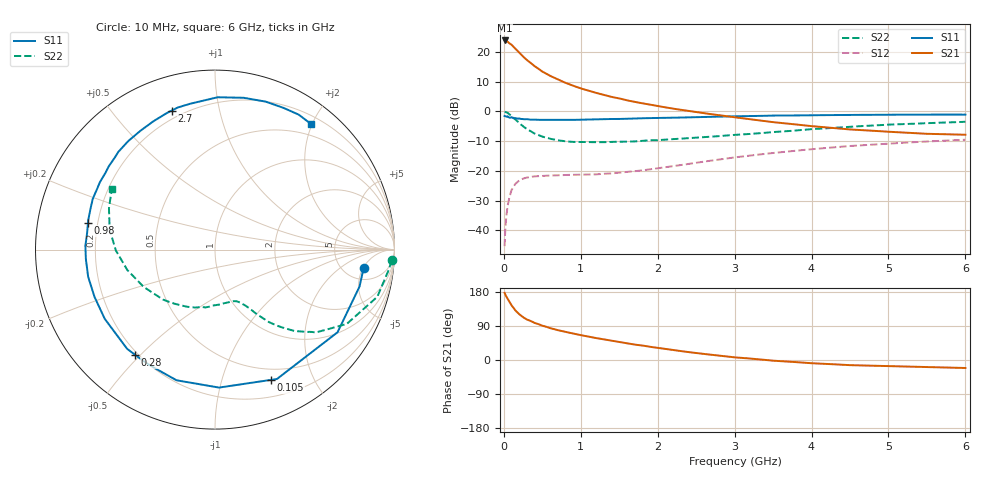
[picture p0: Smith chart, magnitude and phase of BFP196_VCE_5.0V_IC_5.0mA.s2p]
! Infineon Technologies  Discrete & RF Semiconductors
! BFP196
! VCE = 5.0 V,  IC = 5.0mA
! Common Emitter S-Parameters:  Jan 2016
# GHz  S  MA  R  50
!  f  S11  S21  S12  S22
! GHz  MAG  ANG  MAG  ANG  MAG  ANG  MAG  ANG
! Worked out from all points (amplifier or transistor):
!   210 points, 10 MHz to 6 GHz, reference 50 ohm
!   highest |S21| = 23.8 dB at 10 MHz (marker M1)
!   |S21| within 3 dB of that: start of sweep to 159.1 MHz
!   unconditionally stable (mu >= 1): 1.143 GHz to 3.33 GHz
!   at 185 MHz: K = 0.19, MSG = 21.9 dB, |S12| = -23.6 dB
!   at 1.52 GHz: K = 1.19, MAG = 9.8 dB, |S12| = -20.6 dB
!   at 6 GHz: K = 0.99, MSG = 0.8 dB, |S12| = -9.6 dB
!   S11 on the Smith chart (normalised r, x): 10 MHz: 7.55, -5.13; 105 MHz: 0.38, -1.45; 280 MHz: 0.19, -0.48; 980 MHz: 0.16, +0.10; 2.7 GHz: 0.16, +0.72; 6 GHz: 0.32, +1.98
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0.01  0.8344 -7.1  15.56 177.0  0.0054 85.8  0.9867 -3.5
0.02  0.8312 -14.3  15.33 171.8  0.0108 84.6  0.9748 -6.6
0.05  0.8236 -34.0  14.78 160.7  0.0261 72.7  0.9419 -16.2
0.1  0.7993 -64.4  13.22 144.2  0.0474 58.5  0.8426 -29.5
0.105  0.7903 -66.7  13 143.0  0.0486 57.1  0.8303 -30.3
0.15  0.7691 -88.3  11.33 130.4  0.0604 47.2  0.7289 -39.2
0.2  0.7589 -106.4  9.73 120.8  0.0687 39.9  0.6356 -45.6
0.24  0.7403 -117.7  8.593 114.5  0.0728 35.4  0.5747 -49.1
0.28  0.736 -127.1  7.695 109.4  0.0757 32.1  0.5254 -52.0
0.3  0.7385 -131.5  7.289 106.8  0.077 30.7  0.5029 -53.4
0.4  0.7254 -147.9  5.75 97.8  0.0806 25.9  0.4227 -57.4
0.5  0.7211 -158.6  4.668 90.6  0.0821 23.1  0.3759 -59.8
0.7  0.7214 -175.9  3.443 78.8  0.0841 21.6  0.3263 -64.7
0.98  0.7233 168.2  2.481 66.5  0.086 22.9  0.3049 -71.1
1.02  0.7256 166.1  2.388 64.9  0.0862 23.2  0.3044 -72.2
1.4  0.7432 149.6  1.75 50.9  0.0904 28.6  0.3068 -83.3
2.02  0.7746 127.8  1.216 31.5  0.1111 37.4  0.3287 -103.3
2.7  0.8111 107.3  0.895 13.8  0.1486 39.9  0.3749 -126.2
3.1  0.8269 97.5  0.766 5.5  0.1741 37.9  0.4084 -139.7
4.1  0.8615 77.6  0.55 -9.4  0.2366 28.4  0.5098 -169.6
5.1  0.8778 63.0  0.447 -16.7  0.2917 16.0  0.6032 167.0
6  0.881 52.6  0.404 -21.1  0.333 4.3  0.6677 149.4
